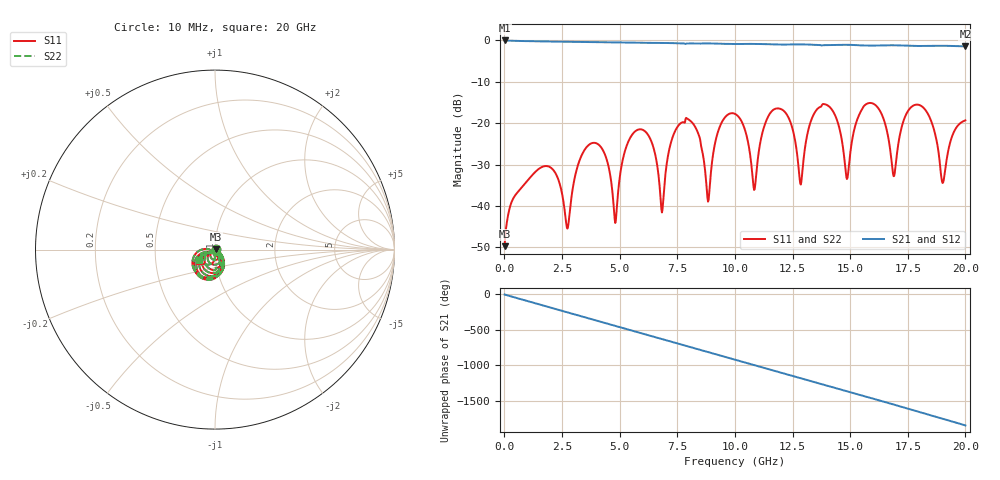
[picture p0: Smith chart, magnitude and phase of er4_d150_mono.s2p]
! Stitch-rule transferability - stripline, 2 mm stitch pitch, cut at x=20 mm
! Case: er4_d150_mono
! Sweep: 10 MHz - 20 GHz, 25 MHz step, 4 cores
# GHz S MA R 50.000000
! Terminal data exported
! Port[1] = U1.PAD1.SIG
! Port[2] = U2.PAD1.SIG
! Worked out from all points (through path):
!   801 points, 10 MHz to 20 GHz, reference 50 ohm
!   highest |S21| = -0.03 dB at 10 MHz (marker M1); lowest = -1.5 dB at 20 GHz (marker M2)
!   group delay of S21, straight-line fit = 256 ps
!   lowest |S11| = -49.7 dB at 10 MHz (marker M3), VSWR 1.01, Z = 50.3 + j0.144 ohm
!   |S11| at or under -10 dB: start of sweep to end of sweep
!   |S22| runs from -49.7 to -15.1 dB; largest |S21 - S12| = 0
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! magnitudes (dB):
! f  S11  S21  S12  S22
! 10 MHz  -49.7  0.0  0.0  -49.7
! 1.71 GHz  -30.4  -0.3  -0.3  -30.4
! 2.735 GHz  -45.4  -0.3  -0.3  -45.5
! 3.36 GHz  -27.7  -0.4  -0.4  -27.7
! 4.235 GHz  -26.1  -0.5  -0.5  -26.1
! 4.81 GHz  -44.1  -0.5  -0.5  -44.1
! 5.685 GHz  -21.9  -0.6  -0.6  -21.9
! 6.685 GHz  -32.5  -0.6  -0.6  -32.5
! 7.96 GHz  -19.0  -0.8  -0.8  -19.0
! 8.835 GHz  -39.0  -0.7  -0.7  -39.0
! 10.01 GHz  -17.8  -0.9  -0.9  -17.8
! 10.84 GHz  -36.1  -0.9  -0.9  -36.1
! 11.61 GHz  -17.0  -1.0  -1.0  -17.0
! 12.86 GHz  -34.8  -1.0  -1.0  -34.8
! 13.36 GHz  -18.6  -1.1  -1.1  -18.6
! 14.23 GHz  -16.9  -1.1  -1.1  -16.9
! 14.86 GHz  -33.5  -1.1  -1.1  -33.5
! 15.69 GHz  -15.5  -1.2  -1.2  -15.5
! 16.68 GHz  -24.4  -1.2  -1.2  -24.4
! 18.09 GHz  -15.8  -1.4  -1.4  -15.8
! 19.04 GHz  -34.3  -1.3  -1.3  -34.4
! 20 GHz  -19.3  -1.5  -1.5  -19.3
